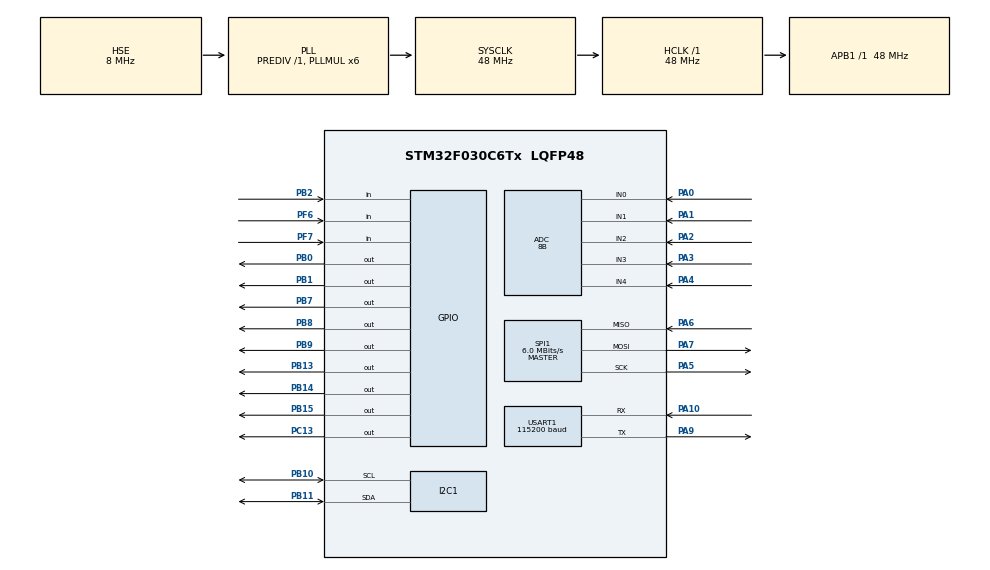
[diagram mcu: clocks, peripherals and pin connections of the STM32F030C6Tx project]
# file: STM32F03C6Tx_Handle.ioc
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ADC.ContinuousConvMode=ENABLE
ADC.DMAContinuousRequests=ENABLE
ADC.Resolution=ADC_RESOLUTION_8B
ADC.SamplingTime=ADC_SAMPLETIME_55CYCLES_5
Dma.ADC.0.Direction=DMA_PERIPH_TO_MEMORY
Dma.ADC.0.Instance=DMA1_Channel1
Dma.ADC.0.MemDataAlignment=DMA_MDATAALIGN_BYTE
Dma.ADC.0.MemInc=DMA_MINC_ENABLE
Dma.ADC.0.Mode=DMA_CIRCULAR
Dma.ADC.0.PeriphDataAlignment=DMA_PDATAALIGN_BYTE
Dma.ADC.0.PeriphInc=DMA_PINC_DISABLE
Dma.ADC.0.Priority=DMA_PRIORITY_LOW
Dma.Request0=ADC
Mcu.Family=STM32F0
Mcu.Name=STM32F030C6Tx
Mcu.Package=LQFP48
NVIC.ADC1_IRQn=true\:0\:0\:false\:false\:true\:true\:true
NVIC.DMA1_Channel1_IRQn=true\:0\:0\:false\:false\:true\:false\:true
NVIC.I2C1_IRQn=true\:0\:0\:false\:false\:true\:true\:true
NVIC.SPI1_IRQn=true\:0\:0\:false\:false\:true\:true\:true
NVIC.USART1_IRQn=true\:0\:0\:false\:false\:true\:true\:true
PA0.Mode=IN0
PA0.Signal=ADC_IN0
PA1.Mode=IN1
PA1.Signal=ADC_IN1
PA10.Mode=Asynchronous
PA10.Signal=USART1_RX
PA13.Mode=Serial_Wire
PA13.Signal=SYS_SWDIO
PA14.Mode=Serial_Wire
PA14.Signal=SYS_SWCLK
PA2.Mode=IN2
PA2.Signal=ADC_IN2
PA3.Mode=IN3
PA3.Signal=ADC_IN3
PA4.Mode=IN4
PA4.Signal=ADC_IN4
PA5.Mode=Full_Duplex_Master
PA5.Signal=SPI1_SCK
PA6.Mode=Full_Duplex_Master
PA6.Signal=SPI1_MISO
PA7.Mode=Full_Duplex_Master
PA7.Signal=SPI1_MOSI
PA9.Mode=Asynchronous
PA9.Signal=USART1_TX
PB0.GPIO_PuPd=GPIO_PULLUP
PB0.Signal=GPIO_Output
PB1.GPIO_PuPd=GPIO_PULLUP
PB1.Signal=GPIO_Output
PB10.Mode=I2C
PB10.Signal=I2C1_SCL
PB11.Mode=I2C
PB11.Signal=I2C1_SDA
PB13.GPIO_PuPd=GPIO_PULLUP
PB13.Signal=GPIO_Output
PB14.GPIO_PuPd=GPIO_PULLUP
PB14.Signal=GPIO_Output
PB15.GPIO_PuPd=GPIO_PULLUP
PB15.Signal=GPIO_Output
PB2.GPIO_PuPd=GPIO_PULLUP
PB2.Signal=GPIO_Input
PB7.GPIO_PuPd=GPIO_PULLUP
PB7.Signal=GPIO_Output
PB8.GPIO_PuPd=GPIO_PULLUP
PB8.Signal=GPIO_Output
PB9.GPIO_PuPd=GPIO_PULLUP
PB9.Signal=GPIO_Output
PC13.GPIO_PuPd=GPIO_PULLUP
PC13.Signal=GPIO_Output
PF0-OSC_IN.Mode=HSE-External-Oscillator
PF0-OSC_IN.Signal=RCC_OSC_IN
PF1-OSC_OUT.Mode=HSE-External-Oscillator
PF1-OSC_OUT.Signal=RCC_OSC_OUT
PF6.GPIO_PuPd=GPIO_PULLUP
PF6.Signal=GPIO_Input
PF7.GPIO_PuPd=GPIO_PULLUP
PF7.Signal=GPIO_Input
ProjectManager.HeapSize=0x200
ProjectManager.StackSize=0x400
ProjectManager.TargetToolchain=MDK-ARM V5
RCC.AHBFreq_Value=48000000
RCC.APB1Freq_Value=48000000
RCC.APB1TimFreq_Value=48000000
RCC.HCLKFreq_Value=48000000
RCC.PLLMUL=RCC_PLL_MUL6
RCC.PLLSourceVirtual=RCC_PLLSOURCE_HSE
RCC.SYSCLKFreq_VALUE=48000000
RCC.SYSCLKSource=RCC_SYSCLKSOURCE_PLLCLK
SPI1.BaudRatePrescaler=SPI_BAUDRATEPRESCALER_8
SPI1.CalculateBaudRate=6.0 MBits/s
SPI1.DataSize=SPI_DATASIZE_8BIT
SPI1.Direction=SPI_DIRECTION_2LINES
SPI1.Mode=SPI_MODE_MASTER
SPI1.VirtualType=VM_MASTER
USART1.BaudRate=115200
USART1.VirtualMode-Asynchronous=VM_ASYNC
board=custom

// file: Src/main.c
/* USER CODE BEGIN Header */
/**
  ******************************************************************************
  * @file           : main.c
  * @brief          : Main program body
  ******************************************************************************
  * @attention
  *
  * <h2><center>&copy; Copyright (c) 2022 STMicroelectronics.
  * All rights reserved.</center></h2>
  *
  * This software component is licensed by ST under BSD 3-Clause license,
  * the "License"; You may not use this file except in compliance with the
  * License. You may obtain a copy of the License at:
  *                        opensource.org/licenses/BSD-3-Clause
  *
  ******************************************************************************
  */
/* USER CODE END Header */

#include "main.h"
#include "adc.h"
#include "dma.h"
#include "i2c.h"
#include "spi.h"
#include "usart.h"
#include "gpio.h"

/* USER CODE BEGIN Includes */
#include <stdio.h>
#include "key.h"
#include "SI24R1.h"
#include "oled.h"
/* USER CODE END Includes */

/* USER CODE BEGIN PM */
uint32_t Voltage[2]={0};
uint8_t Data[8]={0};
uint32_t V=0;
/* USER CODE END PM */

void SystemClock_Config(void);

int main(void)
{

  /* MCU Configuration--------------------------------------------------------*/

  /* Reset of all peripherals, Initializes the Flash interface and the Systick. */
  HAL_Init();

  /* Configure the system clock */
  SystemClock_Config();

  /* Initialize all configured peripherals */
  MX_GPIO_Init();
  MX_DMA_Init();
  MX_ADC_Init();
  MX_I2C1_Init();
  MX_SPI1_Init();
  MX_USART1_UART_Init();
  /* USER CODE BEGIN 2 */
	//初始化OLED
	OLED_Init();
	OLED_Display_On();
	OLED_Clear();
	//???SI24R1
	HAL_GPIO_WritePin(GPIOC, GPIO_PIN_13,GPIO_PIN_RESET);
	while(NRF24L01_Check())
  {
	  printf("SI24R1 initialization failed!\r\n");
		HAL_GPIO_TogglePin(GPIOC, GPIO_PIN_13);
	  HAL_Delay(200);
  }
  printf("SI24R1 initialization succeed!\r\n");
  NRF24L01_TX_Mode();
	HAL_GPIO_WritePin(GPIOC, GPIO_PIN_13,GPIO_PIN_SET);
  /* USER CODE END 2 */

  /* Infinite loop */
  while (1)
  {

    /* USER CODE BEGIN 3 */
		Data[0] = KEY_Scan();

		HAL_ADC_Start_DMA(&hadc, Voltage, 5);
		HAL_Delay(10);
		Data[4]=Voltage[0]>>24;
		Data[3]=Voltage[0]>>16;
		Data[2]=Voltage[0]>>8;
		Data[1]=Voltage[0];
		V=Voltage[1];
		V = V*3300/256;

		for(char i=0;i<5;i++)
		{
			printf("Data%d: %d\t",i,Data[i]);
		}
		printf("V: %d\t\n",V);

		for(char a=5;a>0;a--)
		{
			if(NRF24L01_TxPacket(Data)==TX_OK)
				{
					printf("Data sent successfully!\r\n");
					break;
				}
		}

		//OLED??
		OLED_ShowNum(0,0,Data[0],1,16);
		OLED_ShowNum(0,2,Data[1],3,16);OLED_ShowNum(32,2,Data[2],3,16);
		OLED_ShowNum(0,4,Data[3],3,16);OLED_ShowNum(32,4,Data[4],3,16);

		if(Data[0] == 1)
		{
			HAL_GPIO_TogglePin(GPIOB, GPIO_PIN_13|GPIO_PIN_14
				|GPIO_PIN_15|GPIO_PIN_7|GPIO_PIN_8|GPIO_PIN_9);
			HAL_Delay(100);
		}
  }
  /* USER CODE END 3 */
}

void SystemClock_Config(void)
{
  RCC_OscInitTypeDef RCC_OscInitStruct = {0};
  RCC_ClkInitTypeDef RCC_ClkInitStruct = {0};
  RCC_PeriphCLKInitTypeDef PeriphClkInit = {0};

  /** Initializes the CPU, AHB and APB busses clocks
  */
  RCC_OscInitStruct.OscillatorType = RCC_OSCILLATORTYPE_HSI|RCC_OSCILLATORTYPE_HSI14
                              |RCC_OSCILLATORTYPE_HSE;
  RCC_OscInitStruct.HSEState = RCC_HSE_ON;
  RCC_OscInitStruct.HSIState = RCC_HSI_ON;
  RCC_OscInitStruct.HSI14State = RCC_HSI14_ON;
  RCC_OscInitStruct.HSICalibrationValue = RCC_HSICALIBRATION_DEFAULT;
  RCC_OscInitStruct.HSI14CalibrationValue = 16;
  RCC_OscInitStruct.PLL.PLLState = RCC_PLL_ON;
  RCC_OscInitStruct.PLL.PLLSource = RCC_PLLSOURCE_HSE;
  RCC_OscInitStruct.PLL.PLLMUL = RCC_PLL_MUL6;
  RCC_OscInitStruct.PLL.PREDIV = RCC_PREDIV_DIV1;
  if (HAL_RCC_OscConfig(&RCC_OscInitStruct) != HAL_OK)
  {
    Error_Handler();
  }
  /** Initializes the CPU, AHB and APB busses clocks
  */
  RCC_ClkInitStruct.ClockType = RCC_CLOCKTYPE_HCLK|RCC_CLOCKTYPE_SYSCLK
                              |RCC_CLOCKTYPE_PCLK1;
  RCC_ClkInitStruct.SYSCLKSource = RCC_SYSCLKSOURCE_PLLCLK;
  RCC_ClkInitStruct.AHBCLKDivider = RCC_SYSCLK_DIV1;
  RCC_ClkInitStruct.APB1CLKDivider = RCC_HCLK_DIV1;

  if (HAL_RCC_ClockConfig(&RCC_ClkInitStruct, FLASH_LATENCY_1) != HAL_OK)
  {
    Error_Handler();
  }
  PeriphClkInit.PeriphClockSelection = RCC_PERIPHCLK_USART1|RCC_PERIPHCLK_I2C1;
  PeriphClkInit.Usart1ClockSelection = RCC_USART1CLKSOURCE_PCLK1;
  PeriphClkInit.I2c1ClockSelection = RCC_I2C1CLKSOURCE_HSI;
  if (HAL_RCCEx_PeriphCLKConfig(&PeriphClkInit) != HAL_OK)
  {
    Error_Handler();
  }
}

void Error_Handler(void)
{
}

/************************ (C) COPYRIGHT STMicroelectronics *****END OF FILE****/
